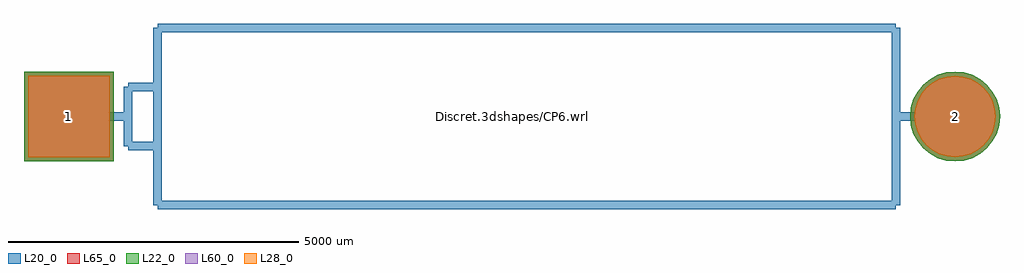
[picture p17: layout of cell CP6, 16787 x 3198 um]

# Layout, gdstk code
import gdstk
lib = gdstk.Library(unit=1e-6, precision=1e-09)
def R(c, l, rs):  # rectangles x0, y0, x1, y1
    for r in rs: c.add(gdstk.rectangle(r[:2], r[2:], *l))
def P(c, l, *ps):  # polygons
    for p in ps: c.add(gdstk.Polygon(p, *l))
L20_0 = (20, 0)
L22_0 = (22, 0)
L28_0 = (28, 0)
L60_0 = (60, 0)
L65_0 = (65, 0)

cp6 = lib.new_cell('CP6')
R(cp6, L22_0, [(-8393.5,-773.5,-6846.5,773.5)])
P(cp6, L22_0, [(8393.5,0),(8378.637,150.902),(8334.621,296.006),(8263.142,429.734),(8166.947,546.947),(8049.734,643.142),(7916.006,714.621),(7770.902,758.637),(7620,773.5),(7469.098,758.637),(7323.994,714.621),(7190.266,643.142),(7073.053,546.947),(6976.858,429.734),(6905.379,296.006),(6861.363,150.902),(6846.5,0),(6861.363,-150.902),(6905.379,-296.006),(6976.858,-429.734),(7073.053,-546.947),(7190.266,-643.142),(7323.994,-714.621),(7469.098,-758.637),(7620,-773.5),(7770.902,-758.637),(7916.006,-714.621),(8049.734,-643.142),(8166.947,-546.947),(8263.142,-429.734),(8334.621,-296.006),(8378.637,-150.902)])
R(cp6, L28_0, [(-8318.5,-698.5,-6921.5,698.5)])
P(cp6, L28_0, [(8318.5,0),(8305.079,136.271),(8265.33,267.304),(8200.782,388.066),(8113.914,493.914),(8008.066,580.782),(7887.304,645.33),(7756.271,685.079),(7620,698.5),(7483.729,685.079),(7352.696,645.33),(7231.934,580.782),(7126.086,493.914),(7039.218,388.066),(6974.67,267.304),(6934.921,136.271),(6921.5,0),(6934.921,-136.271),(6974.67,-267.304),(7039.218,-388.066),(7126.086,-493.914),(7231.934,-580.782),(7352.696,-645.33),(7483.729,-685.079),(7620,-698.5),(7756.271,-685.079),(7887.304,-645.33),(8008.066,-580.782),(8113.914,-493.914),(8200.782,-388.066),(8265.33,-267.304),(8305.079,-136.271)])
R(cp6, L60_0, [(-8318.5,-698.5,-6921.5,698.5)])
P(cp6, L60_0, [(8318.5,0),(8305.079,136.271),(8265.33,267.304),(8200.782,388.066),(8113.914,493.914),(8008.066,580.782),(7887.304,645.33),(7756.271,685.079),(7620,698.5),(7483.729,685.079),(7352.696,645.33),(7231.934,580.782),(7126.086,493.914),(7039.218,388.066),(6974.67,267.304),(6934.921,136.271),(6921.5,0),(6934.921,-136.271),(6974.67,-267.304),(7039.218,-388.066),(7126.086,-493.914),(7231.934,-580.782),(7352.696,-645.33),(7483.729,-685.079),(7620,-698.5),(7756.271,-685.079),(7887.304,-645.33),(8008.066,-580.782),(8113.914,-493.914),(8200.782,-388.066),(8265.33,-267.304),(8305.079,-136.271)])
R(cp6, L65_0, [(-8393.5,-773.5,-6846.5,773.5)])
P(cp6, L65_0, [(8393.5,0),(8378.637,150.902),(8334.621,296.006),(8263.142,429.734),(8166.947,546.947),(8049.734,643.142),(7916.006,714.621),(7770.902,758.637),(7620,773.5),(7469.098,758.637),(7323.994,714.621),(7190.266,643.142),(7073.053,546.947),(6976.858,429.734),(6905.379,296.006),(6861.363,150.902),(6846.5,0),(6861.363,-150.902),(6905.379,-296.006),(6976.858,-429.734),(7073.053,-546.947),(7190.266,-643.142),(7323.994,-714.621),(7469.098,-758.637),(7620,-773.5),(7770.902,-758.637),(7916.006,-714.621),(8049.734,-643.142),(8166.947,-546.947),(8263.142,-429.734),(8334.621,-296.006),(8378.637,-150.902)])
cp6.add(gdstk.FlexPath([(6604,-1524),(6604,0)], 149.998, ends="flush", simple_path=True, layer=20, datatype=0))  # L20_0
cp6.add(gdstk.FlexPath([(-6096,-1524),(6604,-1524)], 149.998, ends="flush", simple_path=True, layer=20, datatype=0))  # L20_0
cp6.add(gdstk.FlexPath([(-6096,1524),(-6096,-1524)], 149.998, ends="flush", simple_path=True, layer=20, datatype=0))  # L20_0
cp6.add(gdstk.FlexPath([(6604,1524),(-6096,1524)], 149.998, ends="flush", simple_path=True, layer=20, datatype=0))  # L20_0
cp6.add(gdstk.FlexPath([(6604,0),(6604,1524)], 149.998, ends="flush", simple_path=True, layer=20, datatype=0))  # L20_0
cp6.add(gdstk.FlexPath([(7620,0),(6604,0)], 149.998, ends="flush", simple_path=True, layer=20, datatype=0))  # L20_0
cp6.add(gdstk.FlexPath([(-6604,508),(-6096,508)], 149.998, ends="flush", simple_path=True, layer=20, datatype=0))  # L20_0
cp6.add(gdstk.FlexPath([(-6604,-508),(-6604,508)], 149.998, ends="flush", simple_path=True, layer=20, datatype=0))  # L20_0
cp6.add(gdstk.FlexPath([(-6096,-508),(-6604,-508)], 149.998, ends="flush", simple_path=True, layer=20, datatype=0))  # L20_0
cp6.add(gdstk.FlexPath([(-7620,0),(-6604,0)], 149.998, ends="flush", simple_path=True, layer=20, datatype=0))  # L20_0
cp6.add(gdstk.Label('Discret.3dshapes/CP6.wrl', (0,0), layer=12, texttype=0))
cp6.add(gdstk.Label('2', (7620,0), layer=28, texttype=0))
cp6.add(gdstk.Label('1', (-7620,0), layer=28, texttype=0))
cp6.add(gdstk.Label('type', (635,0), layer=9, texttype=0))
cp6.add(gdstk.Label('devicename', (0,0), layer=9, texttype=0))

lib.write_gds('CP6.gds')
